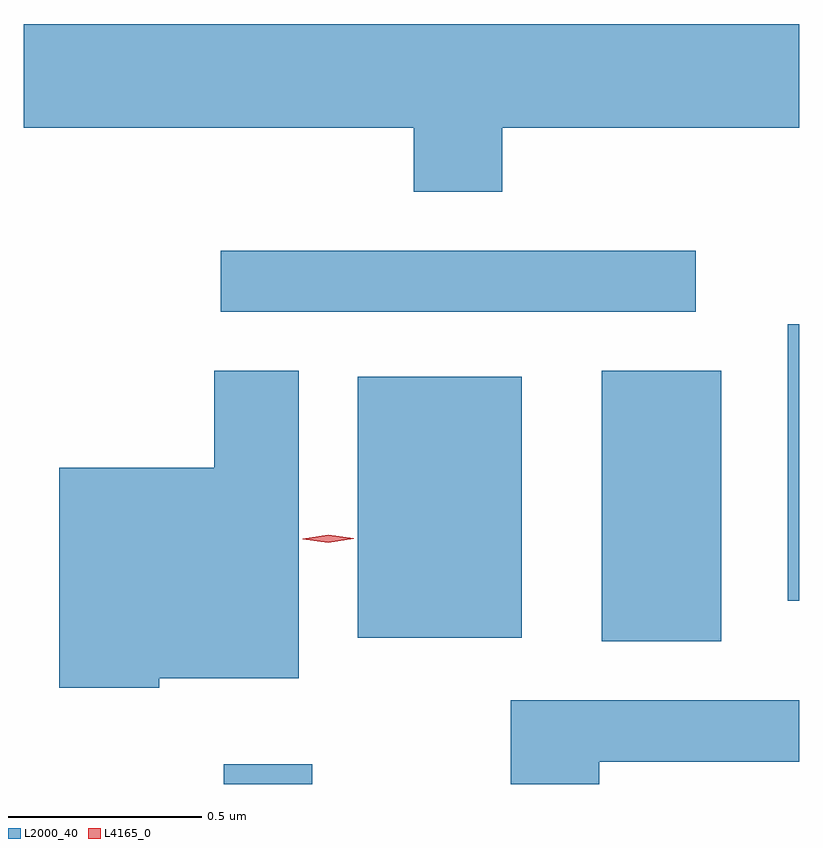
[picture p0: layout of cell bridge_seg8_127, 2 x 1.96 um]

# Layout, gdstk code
import gdstk
lib = gdstk.Library(unit=1e-6, precision=1e-09)
def R(c, l, rs):  # rectangles x0, y0, x1, y1
    for r in rs: c.add(gdstk.rectangle(r[:2], r[2:], *l))
def P(c, l, *ps):  # polygons
    for p in ps: c.add(gdstk.Polygon(p, *l))
L2000_40 = (2000, 40)
L4165_0 = (4165, 0)

bridge_seg8_127 = lib.new_cell('bridge_seg8_127')
R(bridge_seg8_127, L2000_40, [(1858.491,1870.243,1858.719,1870.294), (1859.466,1870.611,1859.774,1871.309), (1858.836,1870.621,1859.259,1871.294), (1859.946,1870.716,1859.975,1871.429), (1858.483,1871.461,1859.708,1871.619)])
P(bridge_seg8_127, L2000_40, [(1859.209,1871.936),(1859.975,1871.936),(1859.975,1872.204),(1857.975,1872.204),(1857.975,1871.936),(1858.981,1871.936),(1858.981,1871.771),(1859.209,1871.771)],
  [(1858.324,1870.516),(1858.684,1870.516),(1858.684,1871.309),(1858.466,1871.309),(1858.466,1871.059),(1858.066,1871.059),(1858.066,1870.491),(1858.324,1870.491)],
  [(1859.459,1870.301),(1859.975,1870.301),(1859.975,1870.459),(1859.231,1870.459),(1859.231,1870.243),(1859.459,1870.243)])
P(bridge_seg8_127, L4165_0, [(1858.76,1870.866),(1858.694,1870.875),(1858.694,1870.876),(1858.694,1870.876),(1858.76,1870.886),(1858.826,1870.877),(1858.826,1870.877),(1858.826,1870.876)])

lib.write_gds('bridge_seg8_127.gds')
